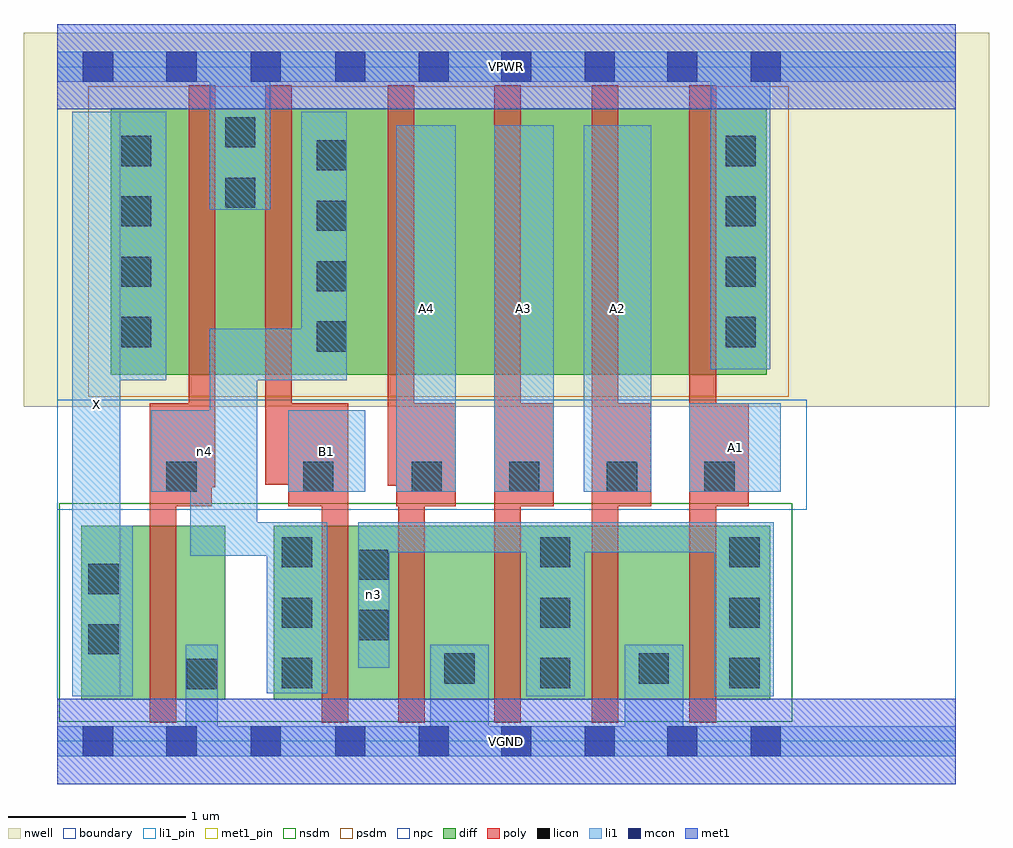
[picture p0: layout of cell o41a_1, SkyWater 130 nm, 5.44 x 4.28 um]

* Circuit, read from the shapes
.subckt o41a_1 A1 A2 A3 A4 B1 VGND VPWR X n3 n4
XM1 VGND n4 X VSUBS sky130_fd_pr__nfet_01v8 w=0.98 l=0.15
XM2 n3 B1 n4 VSUBS sky130_fd_pr__nfet_01v8 w=0.98 l=0.15
XM3 VGND A4 n3 VSUBS sky130_fd_pr__nfet_01v8 w=0.98 l=0.15
XM4 n3 A3 VGND VSUBS sky130_fd_pr__nfet_01v8 w=0.98 l=0.15
XM5 VGND A2 n3 VSUBS sky130_fd_pr__nfet_01v8 w=0.98 l=0.15
XM6 n3 A1 VGND VSUBS sky130_fd_pr__nfet_01v8 w=0.98 l=0.15
XM7 VPWR n4 X n1 sky130_fd_pr__pfet_01v8 w=1.5 l=0.15
XM8 n4 B1 VPWR n1 sky130_fd_pr__pfet_01v8 w=1.5 l=0.15
XM9 n2 A4 n4 n1 sky130_fd_pr__pfet_01v8 w=1.5 l=0.15
XM10 n5 A3 n2 n1 sky130_fd_pr__pfet_01v8 w=1.5 l=0.15
XM11 n6 A2 n5 n1 sky130_fd_pr__pfet_01v8 w=1.5 l=0.15
XM12 VPWR A1 n6 n1 sky130_fd_pr__pfet_01v8 w=1.5 l=0.15
.ends

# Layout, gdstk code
import gdstk
lib = gdstk.Library(unit=1e-6, precision=1e-09)
def R(c, l, rs):  # rectangles x0, y0, x1, y1
    for r in rs: c.add(gdstk.rectangle(r[:2], r[2:], *l))
def A(c, l, x, y, w, h, nx, ny, dx, dy):  # array of equal rectangles
    R(c, l, [(x+i*dx, y+j*dy, x+i*dx+w, y+j*dy+h) for i in range(nx) for j in range(ny)])
nwell = (64, 20)
diff = (65, 20)
poly = (66, 20)
licon = (66, 44)
li1_pin = (67, 16)
li1 = (67, 20)
mcon = (67, 44)
met1_pin = (68, 16)
met1 = (68, 20)
nsdm = (93, 44)
psdm = (94, 20)
npc = (95, 20)
boundary = (235, 4)

o41a_1 = lib.new_cell('o41a_1')
R(o41a_1, nwell, [(-0.19,1.885,5.25,3.99), (0,1.885,5.06,3.99)])
R(o41a_1, diff, [(0.135,0.235,0.945,1.215), (1.22,0.235,4.015,1.215), (0.3,2.065,3.995,3.565)])
A(o41a_1, poly, 2.46, 0.105, 0.15, 3.59, 3, 1, 0.55, 0)
A(o41a_1, poly, 1.91, 1.325, 0.335, 0.58, 4, 1, 0.55, 0)
R(o41a_1, poly, [(0.52,0.105,0.67,1.905), (1.49,0.105,1.64,1.905), (1.92,0.105,2.07,1.905), (0.52,1.325,0.87,1.905), (1.3,1.325,1.64,1.905), (0.74,1.43,0.89,3.695), (1.86,1.44,2.01,3.695), (1.17,1.445,1.32,3.695)])
A(o41a_1, licon, 1.265, 0.3, 0.17, 0.17, 1, 3, 0, 0.34)
A(o41a_1, licon, 2.72, 0.3, 0.17, 0.17, 1, 3, 0, 0.34)
A(o41a_1, licon, 3.785, 0.3, 0.17, 0.17, 1, 3, 0, 0.34)
A(o41a_1, licon, 1.995, 1.405, 0.17, 0.17, 4, 1, 0.55, 0)
A(o41a_1, licon, 1.46, 2.195, 0.17, 0.17, 1, 4, 0, 0.34)
A(o41a_1, licon, 0.36, 2.22, 0.17, 0.17, 1, 4, 0, 0.34)
A(o41a_1, licon, 3.765, 2.22, 0.17, 0.17, 1, 4, 0, 0.34)
R(o41a_1, licon, [(0.73,0.295,0.9,0.465), (2.18,0.325,2.35,0.495), (3.275,0.325,3.445,0.495), (0.175,0.49,0.345,0.66), (1.695,0.57,1.865,0.74), (0.175,0.83,0.345,1), (1.695,0.91,1.865,1.08), (0.615,1.405,0.785,1.575), (1.385,1.405,1.555,1.575), (0.945,3.005,1.115,3.175), (0.945,3.345,1.115,3.515)])
R(o41a_1, li1_pin, [(0.085,0.255,0.355,3.545), (1.3,1.405,1.735,1.865), (1.91,1.405,2.245,3.47), (2.46,1.405,2.795,3.47), (2.965,1.405,3.345,3.47), (3.56,1.405,4.075,1.905)])
R(o41a_1, li1, [(0,-0.085,5.06,0.085), (0.725,-0.085,0.905,0.545), (2.1,-0.085,2.43,0.545), (3.195,-0.085,3.525,0.545), (0.085,0.255,0.355,3.545), (0.085,0.255,0.425,1.215), (2.64,0.255,2.97,1.235), (3.7,0.255,4.035,1.235), (1.18,0.27,1.52,1.235), (1.695,0.415,1.87,1.235), (0.75,1.045,1.125,1.865), (0.75,1.045,1.52,1.235), (0.86,1.045,1.125,2.325), (1.695,1.065,4.035,1.235), (0.53,1.405,1.125,1.865), (1.3,1.405,1.735,1.865), (1.91,1.405,2.245,3.47), (2.46,1.405,2.795,3.47), (2.965,1.405,3.345,3.47), (3.56,1.405,4.075,1.905), (0.085,2.035,0.615,3.545), (0.86,2.035,1.63,2.325), (1.375,2.035,1.63,3.545), (3.68,2.095,4.015,3.885), (0.86,2.995,1.2,3.885), (0,3.715,5.06,3.885)])
A(o41a_1, mcon, 0.615, -0.085, 0.17, 0.17, 3, 2, 0.475, 3.8)
R(o41a_1, mcon, [(0.145,-0.085,0.315,0.085), (2.035,-0.085,2.205,0.085), (2.5,-0.085,2.67,0.085), (2.97,-0.085,3.14,0.085), (3.435,-0.085,3.605,0.085), (3.905,-0.085,4.075,0.085), (0.145,3.715,0.315,3.885), (2.035,3.715,2.205,3.885), (2.5,3.715,2.67,3.885), (2.97,3.715,3.14,3.885), (3.435,3.715,3.605,3.885), (3.905,3.715,4.075,3.885)])
R(o41a_1, met1_pin, [(0,-0.24,5.06,0.24), (0,3.56,5.06,4.04)])
R(o41a_1, met1, [(0,-0.24,5.06,0.24), (0,3.56,5.06,4.04)])
R(o41a_1, nsdm, [(0.01,0.11,4.14,1.34)])
R(o41a_1, psdm, [(0.175,1.94,4.12,3.69)])
R(o41a_1, npc, [(0,1.305,4.22,1.925)])
R(o41a_1, boundary, [(0,0,5.06,3.8)])
o41a_1.add(gdstk.Label('A1', (3.817,1.655), layer=67, texttype=5))
o41a_1.add(gdstk.Label('A2', (3.155,2.437), layer=67, texttype=5))
o41a_1.add(gdstk.Label('A3', (2.627,2.437), layer=67, texttype=5))
o41a_1.add(gdstk.Label('A4', (2.077,2.437), layer=67, texttype=5))
o41a_1.add(gdstk.Label('B1', (1.517,1.635), layer=67, texttype=5))
o41a_1.add(gdstk.Label('X', (0.22,1.9), layer=67, texttype=5))
o41a_1.add(gdstk.Label('n3', (1.782,0.825), layer=67, texttype=5))
o41a_1.add(gdstk.Label('n4', (0.827,1.635), layer=67, texttype=5))
o41a_1.add(gdstk.Label('VPWR', (2.53,3.8), layer=68, texttype=5))
o41a_1.add(gdstk.Label('VGND', (2.53,0), layer=68, texttype=5))
o41a_1.add(gdstk.Label('A1', (3.817,1.655), layer=67, texttype=16))
o41a_1.add(gdstk.Label('A2', (3.155,2.437), layer=67, texttype=16))
o41a_1.add(gdstk.Label('A3', (2.627,2.437), layer=67, texttype=16))
o41a_1.add(gdstk.Label('A4', (2.077,2.437), layer=67, texttype=16))
o41a_1.add(gdstk.Label('B1', (1.517,1.635), layer=67, texttype=16))
o41a_1.add(gdstk.Label('X', (0.22,1.9), layer=67, texttype=16))
o41a_1.add(gdstk.Label('VPWR', (2.53,3.8), layer=68, texttype=16))
o41a_1.add(gdstk.Label('VGND', (2.53,0), layer=68, texttype=16))

lib.write_gds('o41a_1.gds')
